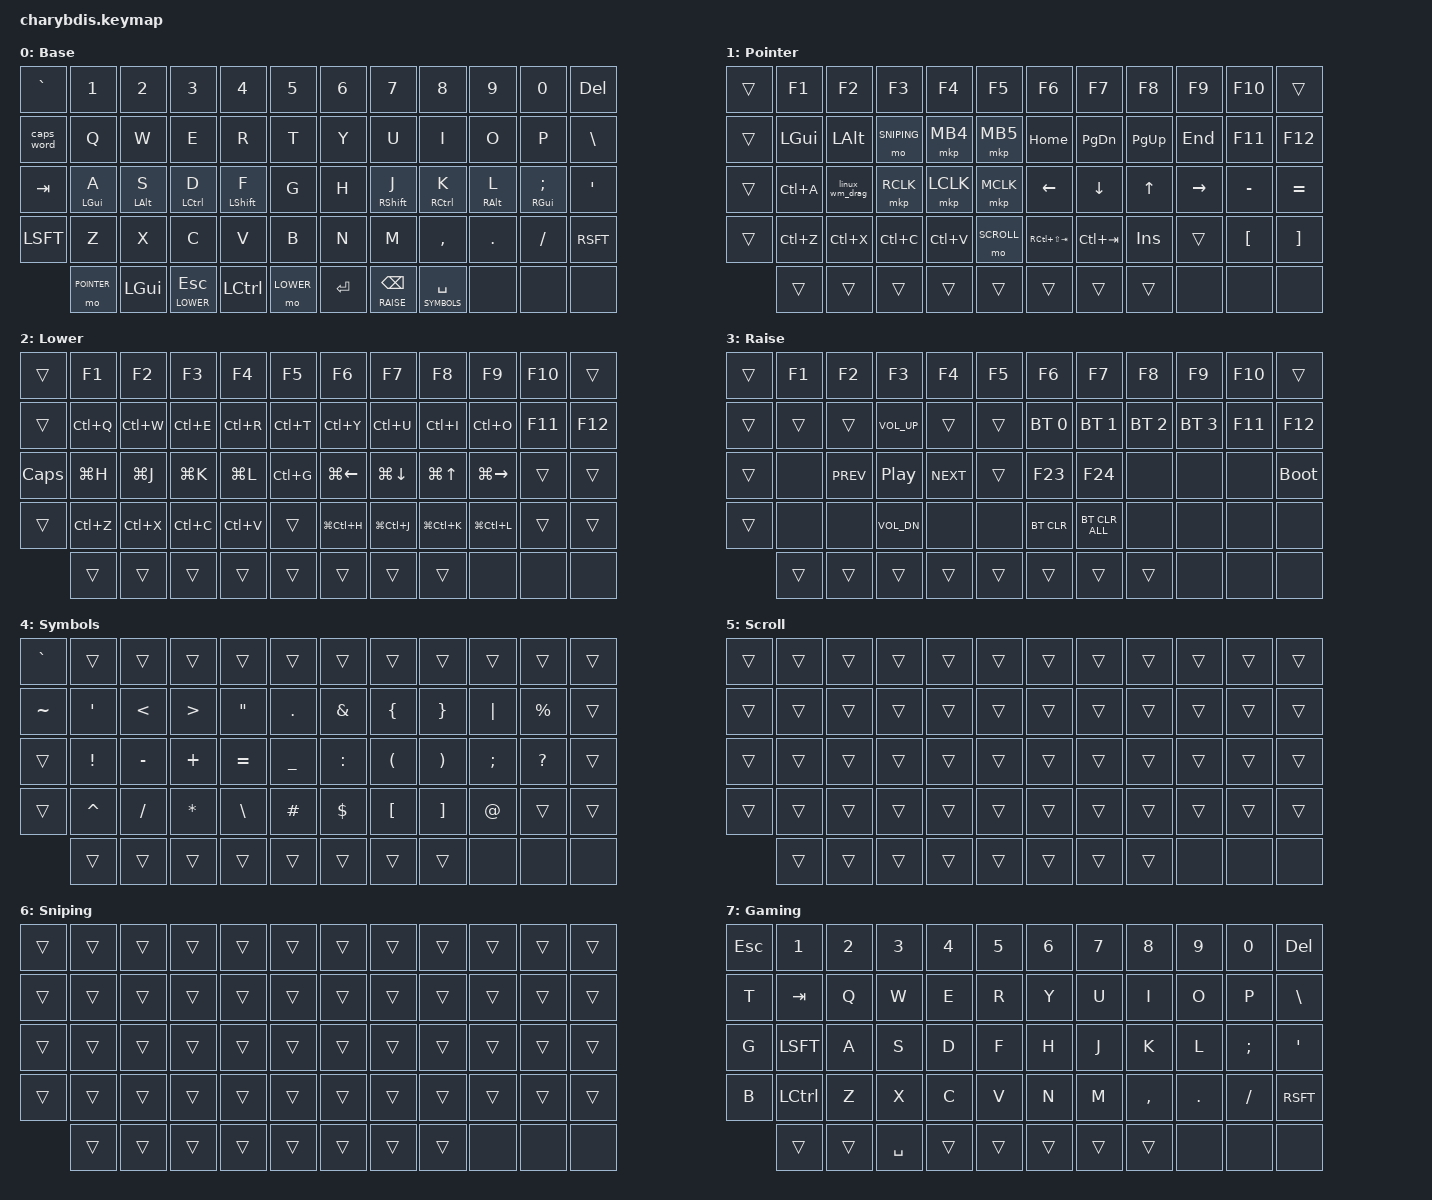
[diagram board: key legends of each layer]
#include <dt-bindings/zmk/mouse.h>
#include <behaviors/mouse_keys.dtsi>
#include <behaviors.dtsi>
#include <dt-bindings/zmk/bt.h>
#include <dt-bindings/zmk/keys.h>
#include <dt-bindings/zmk/outputs.h>
#include <dt-bindings/zmk/pointing.h>
#include <input/processors.dtsi>

#define CHARYBDIS_TRACKBALL_LISTENER CHARYBDIS_TRACKBALL_PROCESSORS

/ {
    chosen { zmk,physical-layout = &charybdis_6col_layout; };
};

// Ergonomic adjustments to prevent accidental modifier activation during rapid text input
&mt {
    quick-tap-ms = <175>;
    flavor = "balanced";
    tapping-term-ms = <160>;
};

&lt {
    quick-tap-ms = <175>;
    flavor = "balanced";
    tapping-term-ms = <160>;
};

// Layer definitions
#define BASE 0
#define POINTER 1
#define LOWER 2
#define RAISE 3
#define SYMBOLS 4
#define SCROLL 5
#define SNIPING 6
#define GAMING 7

&caps_word {
    continue-list = <UNDERSCORE MINUS BACKSPACE DELETE>;
};

/ {
  behaviors {
    // Home row mods - Left hand
    hml: home_row_mod_left {
      compatible = "zmk,behavior-hold-tap";
      #binding-cells = <2>;
      flavor = "balanced";
      require-prior-idle-ms = <125>;
      tapping-term-ms = <210>;
      quick-tap-ms = <160>;
      bindings = <&kp>, <&kp>;
      hold-trigger-key-positions = <6 7 8 9 10 11 18 19 20 21 22 23 30 31 32 33 34 35 42 43 44 45 46 47 53 54 55>; // Right side keys
      hold-trigger-on-release;
    };

    // Home row mods - Right hand
    hmr: home_row_mod_right {
      compatible = "zmk,behavior-hold-tap";
      #binding-cells = <2>;
      flavor = "balanced";
      require-prior-idle-ms = <125>;
      tapping-term-ms = <210>;
      quick-tap-ms = <160>;
      bindings = <&kp>, <&kp>;
      hold-trigger-key-positions = <0 1 2 3 4 5 12 13 14 15 16 17 24 25 26 27 28 29 36 37 38 39 40 41 48 49 50 51 52>; // Left side keys
      hold-trigger-on-release;
    };
  };

  macros {
    // Native Linux Window Move Macro (Holds Super + Mouse 1 for window dragging)
    linux_wm_drag: linux_wm_drag {
      compatible = "zmk,behavior-macro";
      wait-ms = <0>;
      tap-ms = <5>;
      #binding-cells = <0>;
      bindings
        = <&macro_press &kp LGUI &mkp LCLK>
        , <&macro_pause_for_release>
        , <&macro_release &mkp LCLK &kp LGUI>
        ;
    };
  };

  combos {
    compatible = "zmk,combos";
    timeout-ms = <25>;
    require-prior-idle-ms = <140>;

    // --- Escape combos
    // Left hand
    combo_esc_left {
      timeout-ms = <50>;
      key-positions = <27 28>; // D and F matrix keys
      bindings = <&kp ESC>;
    };

    // Right hand
    combo_esc_right {
      timeout-ms = <50>;
      key-positions = <31 32>; // J and K matrix keys
      bindings = <&kp ESC>;
    };

    // --- Emacs Input Method Toggle (Ctrl + \)
    // Left hand
    combo_emacs_lang_left {
      timeout-ms = <50>;
      key-positions = <26 27>; // S and D matrix keys
      bindings = <&kp LC(BSLH)>;
    };
    // Right hand
    combo_emacs_lang_right {
      timeout-ms = <50>;
      key-positions = <32 33>; // K and L matrix keys
      bindings = <&kp LC(BSLH)>;
    };

    // Gaming layer toggle combo - keys 52, 54, 55
    combo_gaming_toggle {
      timeout-ms = <50>;
      key-positions = <52 54 55>;
      bindings = <&tog GAMING>;
    };

  };

  keymap {
    compatible = "zmk,keymap";

// ╭─────────────┬─────────────┬─────────────┬─────────────┬─────────────┬─────────────╮   ╭─────────────┬─────────────┬─────────────┬─────────────┬─────────────┬─────────────╮
//    0             1             2             3             4             5                 6             7             8             9            10            11
// ├─────────────┼─────────────┼─────────────┼─────────────┼─────────────┼─────────────┤   ├─────────────┼─────────────┼─────────────┼─────────────┼─────────────┼─────────────┤
//   12            13            14            15            16            17                18            19            20            21            22            23
// ├─────────────┼─────────────┼─────────────┼─────────────┼─────────────┼─────────────┤   ├─────────────┼─────────────┼─────────────┼─────────────┼─────────────┼─────────────┤
//   24            25            26            27            28            29                30            31            32            33            34            35
// ├─────────────┼─────────────┼─────────────┼─────────────┼─────────────┼─────────────┤   ├─────────────┼─────────────┼─────────────┼─────────────┼─────────────┼─────────────┤
//   36            37            38            39            40            41                42            43            44            45            46            47
// ╰─────────────┴─────────────┴─────────────┴─────────────┴─────────────┴─────────────╯   ╰─────────────┴─────────────┴─────────────┴─────────────┴─────────────┴─────────────╯
//               ╭─────────────┬─────────────┬─────────────┬─────────────┬─────────────╮   ╭─────────────┬─────────────┬─────────────╮
//                  48            49            50            51            52                53            54            55
//               ╰─────────────┴─────────────┴─────────────┴─────────────┴─────────────╯   ╰─────────────┴─────────────┴─────────────╯
//                                                                         Actual Key Positions
//                                          ╭─────────────┬─────────────┬─────────────╮    ╭─────────────┬─────────────╮
//                                               48           49           50                   54            55
//                                          ╰─────────────┼─────────────┼─────────────┤    ├─────────────┼─────────────╯
//                                                            51            52                 53
//                                                        ╰─────────────┴─────────────╯    ╰─────────────╯

    base_layer {
      label = "BASE";
      display-name = "Base";
      bindings = <
// ╭─────────────┬─────────────┬─────────────┬─────────────┬─────────────┬─────────────╮   ╭─────────────┬─────────────┬─────────────┬─────────────┬─────────────┬─────────────╮
    &kp GRAVE       &kp N1        &kp N2        &kp N3        &kp N4        &kp N5            &kp N6        &kp N7        &kp N8        &kp N9        &kp N0        &kp DEL
// ├─────────────┼─────────────┼─────────────┼─────────────┼─────────────┼─────────────┤   ├─────────────┼─────────────┼─────────────┼─────────────┼─────────────┼─────────────┤
    &caps_word         &kp Q         &kp W         &kp E         &kp R         &kp T             &kp Y         &kp U         &kp I         &kp O         &kp P         &kp BSLH
// ├─────────────┼─────────────┼─────────────┼─────────────┼─────────────┼─────────────┤   ├─────────────┼─────────────┼─────────────┼─────────────┼─────────────┼─────────────┤
    &kp TAB        &hml LGUI A   &hml LALT S  &hml LCTRL D  &hml LSHIFT F   &kp G             &kp H       &hmr RSHIFT J &hmr RCTRL K   &hmr RALT L  &hmr RGUI SEMI  &kp SQT
// ├─────────────┼─────────────┼─────────────┼─────────────┼─────────────┼─────────────┤   ├─────────────┼─────────────┼─────────────┼─────────────┼─────────────┼─────────────┤
    &kp LSFT         &kp Z         &kp X        &kp C         &kp V         &kp B             &kp N          &kp M        &kp COMMA     &kp DOT       &kp FSLH      &kp RSFT
// ╰─────────────┴─────────────┴─────────────┴─────────────┴─────────────┴─────────────╯   ╰─────────────┴─────────────┴─────────────┴─────────────┴─────────────┴─────────────╯
//               ╭─────────────┬─────────────┬─────────────┬─────────────┬─────────────╮   ╭─────────────┬─────────────┬─────────────╮
                   &mo POINTER    &kp LGUI    &lt LOWER ESC   &kp LCTRL     &mo LOWER         &kp RET      &lt RAISE BSPC &lt SYMBOLS SPACE &none &none &none
//               ╰─────────────┴─────────────┴─────────────┴─────────────┴─────────────╯   ╰─────────────┴─────────────┴─────────────╯
      >;
    };

    pointer_layer {
      label = "POINTER";
      display-name = "Pointer";
      bindings = <
// ╭─────────────┬─────────────┬─────────────┬─────────────┬─────────────┬─────────────╮   ╭─────────────┬─────────────┬─────────────┬─────────────┬─────────────┬─────────────╮
       &trans        &kp F1        &kp F2        &kp F3        &kp F4        &kp F5            &kp F6        &kp F7        &kp F8        &kp F9        &kp F10       &trans
// ├─────────────┼─────────────┼─────────────┼─────────────┼─────────────┼─────────────┤   ├─────────────┼─────────────┼─────────────┼─────────────┼─────────────┼─────────────┤
       &trans       &kp LGUI      &kp LALT     &mo SNIPING    &mkp MB4      &mkp MB5          &kp HOME      &kp PG_DN     &kp PG_UP     &kp END       &kp F11       &kp F12
// ├─────────────┼─────────────┼─────────────┼─────────────┼─────────────┼─────────────┤   ├─────────────┼─────────────┼─────────────┼─────────────┼─────────────┼─────────────┤
       &trans       &kp LC(A)   &linux_wm_drag  &mkp RCLK     &mkp LCLK     &mkp MCLK         &kp LEFT      &kp DOWN      &kp UP        &kp RIGHT     &kp MINUS     &kp EQUAL
// ├─────────────┼─────────────┼─────────────┼─────────────┼─────────────┼─────────────┤   ├─────────────┼─────────────┼─────────────┼─────────────┼─────────────┼─────────────┤
       &trans       &kp LC(Z)     &kp LC(X)     &kp LC(C)     &kp LC(V)     &mo SCROLL    &kp RC(LS(TAB))  &kp LC(TAB)    &kp INS       &trans        &kp LBKT      &kp RBKT
// ╰─────────────┴─────────────┴─────────────┴─────────────┴─────────────┴─────────────╯   ╰─────────────┴─────────────┴─────────────┴─────────────┴─────────────┴─────────────╯
//               ╭─────────────┬─────────────┬─────────────┬─────────────┬─────────────╮   ╭─────────────┬─────────────┬─────────────╮
                  &trans        &trans        &trans        &trans        &trans            &trans        &trans        &trans          &none &none &none
//               ╰─────────────┴─────────────┴─────────────┴─────────────┴─────────────╯   ╰─────────────┴─────────────┴─────────────╯
      >;
    };

    lower_layer {
      label = "LOWER";
      display-name = "Lower";
      bindings = <
// ╭─────────────┬─────────────┬─────────────┬─────────────┬─────────────┬─────────────╮   ╭─────────────┬─────────────┬─────────────┬─────────────┬─────────────┬─────────────╮
        &trans       &kp F1        &kp F2        &kp F3        &kp F4        &kp F5             &kp F6       &kp F7         &kp F8       &kp F9         &kp F10      &trans
// ├─────────────┼─────────────┼─────────────┼─────────────┼─────────────┼─────────────┤   ├─────────────┼─────────────┼─────────────┼─────────────┼─────────────┼─────────────┤
        &trans      &kp LC(Q)     &kp LC(W)     &kp LC(E)     &kp LC(R)     &kp LC(T)          &kp LC(Y)    &kp LC(U)      &kp LC(I)     &kp LC(O)      &kp F11      &kp F12
// ├─────────────┼─────────────┼─────────────┼─────────────┼─────────────┼─────────────┤   ├─────────────┼─────────────┼─────────────┼─────────────┼─────────────┼─────────────┤
       &kp CAPS     &kp LG(H)     &kp LG(J)     &kp LG(K)     &kp LG(L)     &kp LC(G)        &kp LG(LEFT)  &kp LG(DOWN)   &kp LG(UP)  &kp LG(RIGHT)     &trans      &trans
// ├─────────────┼─────────────┼─────────────┼─────────────┼─────────────┼─────────────┤   ├─────────────┼─────────────┼─────────────┼─────────────┼─────────────┼─────────────┤
        &trans      &kp LC(Z)     &kp LC(X)     &kp LC(C)     &kp LC(V)       &trans        &kp LG(LC(H)) &kp LG(LC(J)) &kp LG(LC(K)) &kp LG(LC(L))     &trans      &trans
// ╰─────────────┴─────────────┴─────────────┴─────────────┴─────────────┴─────────────╯   ╰─────────────┴─────────────┴─────────────┴─────────────┴─────────────┴─────────────╯
//               ╭─────────────┬─────────────┬─────────────┬─────────────┬─────────────╮   ╭─────────────┬─────────────┬─────────────╮
                  &trans        &trans        &trans        &trans        &trans            &trans        &trans        &trans          &none &none &none
//               ╰─────────────┴─────────────┴─────────────┴─────────────┴─────────────╯   ╰─────────────┴─────────────┴─────────────╯
      >;
    };

    raise_layer {
      label = "RAISE";
      display-name = "Raise";
      bindings = <
// ╭─────────────┬─────────────┬─────────────┬─────────────┬─────────────┬─────────────╮   ╭─────────────┬─────────────┬─────────────┬─────────────┬─────────────┬─────────────╮
       &trans       &kp F1        &kp F2        &kp F3        &kp F4        &kp F5            &kp F6        &kp F7        &kp F8        &kp F9        &kp F10       &trans
// ├─────────────┼─────────────┼─────────────┼─────────────┼─────────────┼─────────────┤   ├─────────────┼─────────────┼─────────────┼─────────────┼─────────────┼─────────────┤
       &trans        &trans       &trans       &kp C_VOL_UP    &trans        &trans         &bt BT_SEL 0   &bt BT_SEL 1  &bt BT_SEL 2  &bt BT_SEL 3  &kp F11       &kp F12
// ├─────────────┼─────────────┼─────────────┼─────────────┼─────────────┼─────────────┤   ├─────────────┼─────────────┼─────────────┼─────────────┼─────────────┼─────────────┤
       &trans        &none       &kp C_PREV    &kp C_PP      &kp C_NEXT      &trans           &kp F23       &kp F24       &none         &none         &none         &bootloader
// ├─────────────┼─────────────┼─────────────┼─────────────┼─────────────┼─────────────┤   ├─────────────┼─────────────┼─────────────┼─────────────┼─────────────┼─────────────┤
       &trans        &none         &none       &kp C_VOL_DN  &none         &none             &bt BT_CLR   &bt BT_CLR_ALL  &none        &none         &none         &none
// ╰─────────────┴─────────────┴─────────────┴─────────────┴─────────────┴─────────────╯   ╰─────────────┴─────────────┴─────────────┴─────────────┴─────────────┴─────────────╯
//               ╭─────────────┬─────────────┬─────────────┬─────────────┬─────────────╮   ╭─────────────┬─────────────┬─────────────╮
                    &trans        &trans        &trans        &trans        &trans            &trans        &trans        &trans          &none &none &none
//               ╰─────────────┴─────────────┴─────────────┴─────────────┴─────────────╯   ╰─────────────┴─────────────┴─────────────╯
      >;
    };

    symbols_layer {
      label = "SYMBOLS";
      display-name = "Symbols";
      bindings = <
// ╭─────────────┬─────────────┬─────────────┬─────────────┬─────────────┬─────────────╮   ╭─────────────┬─────────────┬─────────────┬─────────────┬─────────────┬─────────────╮
    &kp GRAVE     &trans        &trans        &trans        &trans        &trans            &trans        &trans        &trans        &trans        &trans        &trans
// ├─────────────┼─────────────┼─────────────┼─────────────┼─────────────┼─────────────┤   ├─────────────┼─────────────┼─────────────┼─────────────┼─────────────┼─────────────┤
    &kp TILDE     &kp SQT       &kp LT        &kp GT        &kp DQT       &kp DOT           &kp AMPS     &kp LBRC      &kp RBRC      &kp PIPE      &kp PRCNT     &trans
// ├─────────────┼─────────────┼─────────────┼─────────────┼─────────────┼─────────────┤   ├─────────────┼─────────────┼─────────────┼─────────────┼─────────────┼─────────────┤
    &trans        &kp EXCL      &kp MINUS     &kp PLUS      &kp EQUAL     &kp UNDER         &kp COLON      &kp LPAR     &kp RPAR      &kp SEMI      &kp QMARK     &trans
// ├─────────────┼─────────────┼─────────────┼─────────────┼─────────────┼─────────────┤   ├─────────────┼─────────────┼─────────────┼─────────────┼─────────────┼─────────────┤
    &trans        &kp CARET     &kp FSLH      &kp ASTRK     &kp BSLH      &kp HASH          &kp DLLR     &kp LBKT      &kp RBKT      &kp AT      &trans        &trans
// ╰─────────────┴─────────────┴─────────────┴─────────────┴─────────────┴─────────────╯   ╰─────────────┴─────────────┴─────────────┴─────────────┴─────────────┴─────────────╯
//               ╭─────────────┬─────────────┬─────────────┬─────────────┬─────────────╮   ╭─────────────┬─────────────┬─────────────╮
                    &trans        &trans        &trans        &trans        &trans            &trans        &trans        &trans          &none &none &none
//               ╰─────────────┴─────────────┴─────────────┴─────────────┴─────────────╯   ╰─────────────┴─────────────┴─────────────╯
      >;
    };

    scroll_layer {
      label = "SCROLL";
      display-name = "Scroll";
      bindings = <
// ╭─────────────┬─────────────┬─────────────┬─────────────┬─────────────┬─────────────╮   ╭─────────────┬─────────────┬─────────────┬─────────────┬─────────────┬─────────────╮
    &trans        &trans        &trans        &trans        &trans        &trans            &trans        &trans        &trans        &trans        &trans        &trans
// ├─────────────┼─────────────┼─────────────┼─────────────┼─────────────┼─────────────┤   ├─────────────┼─────────────┼─────────────┼─────────────┼─────────────┼─────────────┤
    &trans        &trans        &trans        &trans        &trans        &trans            &trans        &trans        &trans        &trans        &trans        &trans
// ├─────────────┼─────────────┼─────────────┼─────────────┼─────────────┼─────────────┤   ├─────────────┼─────────────┼─────────────┼─────────────┼─────────────┼─────────────┤
    &trans        &trans        &trans        &trans        &trans        &trans            &trans        &trans        &trans        &trans        &trans        &trans
// ├─────────────┼─────────────┼─────────────┼─────────────┼─────────────┼─────────────┤   ├─────────────┼─────────────┼─────────────┼─────────────┼─────────────┼─────────────┤
    &trans        &trans        &trans        &trans        &trans        &trans            &trans        &trans        &trans        &trans        &trans        &trans
// ╰─────────────┴─────────────┴─────────────┴─────────────┴─────────────┴─────────────╯   ╰─────────────┴─────────────┴─────────────┴─────────────┴─────────────┴─────────────╯
//               ╭─────────────┬─────────────┬─────────────┬─────────────┬─────────────╮   ╭─────────────┬─────────────┬─────────────╮
                    &trans        &trans        &trans        &trans        &trans            &trans        &trans        &trans          &none &none &none
//               ╰─────────────┴─────────────┴─────────────┴─────────────┴─────────────╯   ╰─────────────┴─────────────┴─────────────╯
      >;
    };

    sniping_layer {
      label = "SNIPING";
      display-name = "Sniping";
      bindings = <
// ╭─────────────┬─────────────┬─────────────┬─────────────┬─────────────┬─────────────╮   ╭─────────────┬─────────────┬─────────────┬─────────────┬─────────────┬─────────────╮
    &trans        &trans        &trans        &trans        &trans        &trans            &trans        &trans        &trans        &trans        &trans        &trans
// ├─────────────┼─────────────┼─────────────┼─────────────┼─────────────┼─────────────┤   ├─────────────┼─────────────┼─────────────┼─────────────┼─────────────┼─────────────┤
    &trans        &trans        &trans        &trans        &trans        &trans            &trans        &trans        &trans        &trans        &trans        &trans
// ├─────────────┼─────────────┼─────────────┼─────────────┼─────────────┼─────────────┤   ├─────────────┼─────────────┼─────────────┼─────────────┼─────────────┼─────────────┤
    &trans        &trans        &trans        &trans        &trans        &trans            &trans        &trans        &trans        &trans        &trans        &trans
// ├─────────────┼─────────────┼─────────────┼─────────────┼─────────────┼─────────────┤   ├─────────────┼─────────────┼─────────────┼─────────────┼─────────────┼─────────────┤
    &trans        &trans        &trans        &trans        &trans        &trans            &trans        &trans        &trans        &trans        &trans        &trans
// ╰─────────────┴─────────────┴─────────────┴─────────────┴─────────────┴─────────────╯   ╰─────────────┴─────────────┴─────────────┴─────────────┴─────────────┴─────────────╯
//               ╭─────────────┬─────────────┬─────────────┬─────────────┬─────────────╮   ╭─────────────┬─────────────┬─────────────╮
                    &trans        &trans        &trans        &trans        &trans            &trans        &trans        &trans          &none &none &none
//               ╰─────────────┴─────────────┴─────────────┴─────────────┴─────────────╯   ╰─────────────┴─────────────┴─────────────╯
      >;
    };

    gaming_layer {
      label = "GAMING";
      display-name = "Gaming";
      bindings = <
// ╭─────────────┬─────────────┬─────────────┬─────────────┬─────────────┬─────────────╮   ╭─────────────┬─────────────┬─────────────┬─────────────┬─────────────┬─────────────╮
    &kp ESC       &kp N1       &kp N2        &kp N3        &kp N4        &kp N5            &kp N6        &kp N7        &kp N8        &kp N9        &kp N0        &kp DEL
// ├─────────────┼─────────────┼─────────────┼─────────────┼─────────────┼─────────────┤   ├─────────────┼─────────────┼─────────────┼─────────────┼─────────────┼─────────────┤
    &kp T        &kp TAB       &kp Q         &kp W         &kp E         &kp R             &kp Y         &kp U         &kp I         &kp O         &kp P         &kp BSLH
// ├─────────────┼─────────────┼─────────────┼─────────────┼─────────────┼─────────────┤   ├─────────────┼─────────────┼─────────────┼─────────────┼─────────────┼─────────────┤
    &kp G        &kp LSFT      &kp A         &kp S         &kp D         &kp F             &kp H         &kp J         &kp K         &kp L         &kp SEMI      &kp SQT
// ├─────────────┼─────────────┼─────────────┼─────────────┼─────────────┼─────────────┤   ├─────────────┼─────────────┼─────────────┼─────────────┼─────────────┼─────────────┤
    &kp B        &kp LCTRL     &kp Z         &kp X         &kp C         &kp V             &kp N         &kp M         &kp COMMA     &kp DOT       &kp FSLH      &kp RSFT
// ╰─────────────┴─────────────┴─────────────┴─────────────┴─────────────┴─────────────╯   ╰─────────────┴─────────────┴─────────────┴─────────────┴─────────────┴─────────────╯
//               ╭─────────────┬─────────────┬─────────────┬─────────────┬─────────────╮   ╭─────────────┬─────────────┬─────────────╮
                  &trans        &trans        &kp SPACE     &trans        &trans            &trans        &trans        &trans          &none &none &none
//               ╰─────────────┴─────────────┴─────────────┴─────────────┴─────────────╯   ╰─────────────┴─────────────┴─────────────╯
      >;
    };
  };
};
